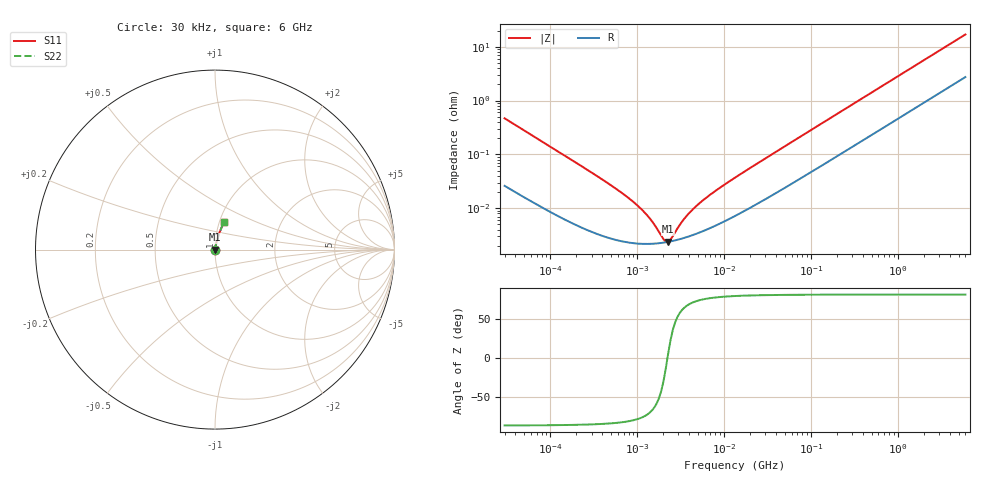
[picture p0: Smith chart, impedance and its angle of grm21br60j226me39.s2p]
!Murata Part Number:GRM21BR60J226ME39
!These Parameters are Measured in Series Mode Connection
!  o--ll--o
!Port1  Port2
!  o------o
!Operation Temp=25[C], DC Bias Voltage=0[V]
!Freq. Start=30[kHz] Stop=6[GHz], 201[Steps]
# Hz S DB R 50
!Freq.[Hz] MagS11[dB] PhaseS11[DEG] MagS21[dB] PhaseS21[DEG] MagS12[dB] PhaseS12[DEG] MagS22[dB] PhaseS22[DEG]
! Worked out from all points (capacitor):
!   201 points, 30 kHz to 6 GHz, reference 50 ohm
!   read as one part in series: C = 11.4 uF near 31.89 kHz
!   lowest |Z| = 2.38 mohm at 2.286 MHz (marker M1)
!   series resonance near 2.247 MHz, so ESL is about 440 pH
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30000  -46.60 -86.5  -0.00 0.3  -0.00 0.3  -46.60 -86.5
238944  -64.71 -85.8  -0.00 0.0  -0.00 0.0  -64.71 -85.8
413850  -69.67 -84.7  -0.00 0.0  -0.00 0.0  -69.67 -84.7
634423  -73.78 -83.1  -0.00 0.0  -0.00 0.0  -73.78 -83.1
860804  -77.04 -80.7  -0.00 0.0  -0.00 0.0  -77.04 -80.7
1098816  -80.05 -77.3  -0.00 0.0  -0.00 0.0  -80.05 -77.3
1790467  -88.82 -51.9  -0.00 0.0  -0.00 0.0  -88.82 -51.9
2285530  -92.48 5.2  -0.00 -0.0  -0.00 -0.0  -92.48 5.2
4472430  -80.15 71.0  -0.00 -0.0  -0.00 -0.0  -80.15 71.0
4753885  -79.35 72.0  -0.00 -0.0  -0.00 -0.0  -79.35 72.0
5709054  -77.13 74.4  -0.00 -0.0  -0.00 -0.0  -77.13 74.4
6856139  -75.13 76.0  -0.00 -0.0  -0.00 -0.0  -75.13 76.0
9888047  -71.49 77.9  -0.00 -0.0  -0.00 -0.0  -71.49 77.9
1.341641e7  -68.66 78.8  -0.00 -0.0  -0.00 -0.0  -68.66 78.8
2.625384e7  -62.67 79.8  -0.00 -0.0  -0.00 -0.0  -62.67 79.8
1.068591e8  -50.44 80.3  -0.00 -0.2  -0.00 -0.2  -50.44 80.3
3.407291e8  -40.38 80.1  -0.01 -0.5  -0.01 -0.5  -40.38 80.1
8.007212e8  -32.98 79.4  -0.03 -1.3  -0.03 -1.3  -32.98 79.4
1.47412e9  -27.71 78.3  -0.07 -2.3  -0.07 -2.3  -27.71 78.3
2.553167e9  -22.99 76.7  -0.12 -4.0  -0.12 -4.0  -22.99 76.7
3.913949e9  -19.36 74.6  -0.20 -6.1  -0.20 -6.1  -19.36 74.6
6e9  -15.80 71.5  -0.35 -9.2  -0.35 -9.2  -15.80 71.5
